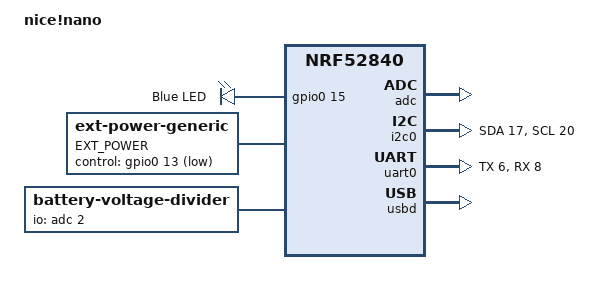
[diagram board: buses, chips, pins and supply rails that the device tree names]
/*
 * Copyright (c) 2020 Pete Johanson
 *
 * SPDX-License-Identifier: MIT
 */

/dts-v1/;
#include <nordic/nrf52840_qiaa.dtsi>
#include "arduino_pro_micro_pins.dtsi"

/ {
	model = "nice!nano";
	compatible = "nice,nano";

	chosen {
		zephyr,code-partition = &code_partition;
		zephyr,sram = &sram0;
		zephyr,flash = &flash0;
	};

	leds {
		compatible = "gpio-leds";
		blue_led: led_0 {
			gpios = <&gpio0 15 GPIO_ACTIVE_HIGH>;
			label = "Blue LED";
		};
	};

	ext-power {
		compatible = "zmk,ext-power-generic";
		label = "EXT_POWER";
		control-gpios = <&gpio0 13 GPIO_ACTIVE_LOW>;
	};

	vbatt {
		compatible = "zmk,battery-voltage-divider";
		label = "BATTERY";
		io-channels = <&adc 2>;
		output-ohms = <2000000>;
		full-ohms = <(2000000 + 806000)>;
	};
};

&adc {
	status = "okay";
};

&gpiote {
	status = "okay";
};

&gpio0 {
	status = "okay";
};

&gpio1 {
	status = "okay";
};

&i2c0 {
	compatible = "nordic,nrf-twi";
	sda-pin = <17>;
	scl-pin = <20>;
};

&uart0 {
	compatible = "nordic,nrf-uarte";
	tx-pin = <6>;
	rx-pin = <8>;
};

&usbd {
	status = "okay";
};


&flash0 {
	/*
	 * For more information, see:
	 * http://docs.zephyrproject.org/latest/devices/dts/flash_partitions.html
	 */
	partitions {
		compatible = "fixed-partitions";
		#address-cells = <1>;
		#size-cells = <1>;

		sd_partition: partition@0 {
			label = "softdevice";
			reg = <0x00000000 0x00026000>;
		};
		code_partition: partition@26000 {
			label = "code_partition";
			reg = <0x00026000 0x000c6000>;
		};

		/*
		 * The flash starting at 0x000ec000 and ending at
		 * 0x000f3fff is reserved for use by the application.
		 */

		/*
		 * Storage partition will be used by FCB/LittleFS/NVS
		 * if enabled.
		 */
		storage_partition: partition@ec000 {
			label = "storage";
			reg = <0x000ec000 0x00008000>;
		};

		boot_partition: partition@f4000 {
			label = "adafruit_boot";
			reg = <0x000f4000 0x0000c000>;
		};
	};
};
